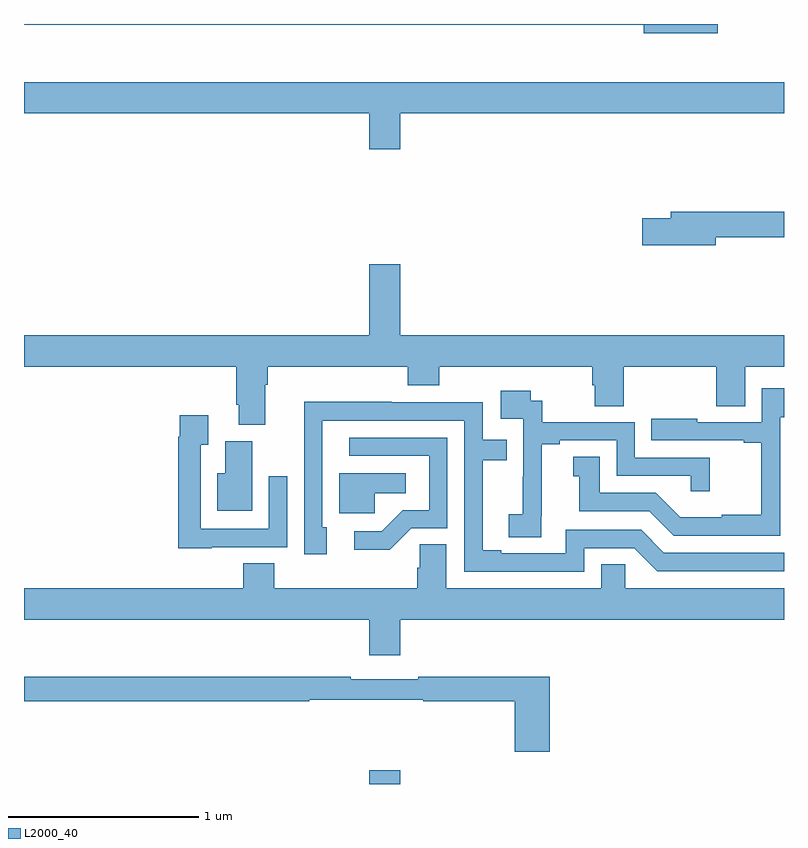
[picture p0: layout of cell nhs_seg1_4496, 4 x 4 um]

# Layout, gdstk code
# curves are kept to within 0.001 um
import gdstk
lib = gdstk.Library(unit=1e-6, precision=1e-09)
def R(c, l, rs):  # rectangles x0, y0, x1, y1
    for r in rs: c.add(gdstk.rectangle(r[:2], r[2:], *l))
def P(c, l, *ps):  # polygons
    for p in ps: c.add(gdstk.Polygon(p, *l))
L2000_40 = (2000, 40)

nhs_seg1_4496 = lib.new_cell('nhs_seg1_4496')
R(nhs_seg1_4496, L2000_40, [(356.816,552.199,356.98,552.271)])
P(nhs_seg1_4496, L2000_40, [(358.651,556.199),(355,556.199),(355,556.194),(358.262,556.194),(358.262,556.151),(358.651,556.151)],
  [(356.98,555.728),(359,555.728),(359,555.892),(355,555.892),(355,555.728),(356.816,555.728),(356.816,555.54),(356.98,555.54)],
  [(358.642,555.076),(359,555.076),(359,555.212),(358.403,555.212),(358.403,555.176),(358.254,555.176),(358.254,555.034),(358.642,555.034)],
  [(356.269,554.3),(356.282,554.3),(356.282,554.396),(357.02,554.396),(357.02,554.297),(357.185,554.297),(357.185,554.396),(357.992,554.396),(357.992,554.298),(358.004,554.298),(358.004,554.188),(358.157,554.188),(358.157,554.396),(358.643,554.396),(358.643,554.188),(358.795,554.188),(358.795,554.396),(359,554.396),(359,554.56),(356.98,554.56),(356.98,554.935),(356.816,554.935),(356.816,554.56),(355,554.56),(355,554.396),(356.117,554.396),(356.117,554.194),(356.129,554.194),(356.129,554.089),(356.269,554.089)],
  [(358.98,554.129),(359,554.129),(359,554.281),(358.884,554.281),(358.884,554.103),(358.543,554.103),(358.543,554.122),(358.3,554.122),(358.3,554.007),(358.787,554.007),(358.787,553.995),(358.879,553.995),(358.879,553.615),(358.673,553.615),(358.673,553.603),(358.454,553.603),(358.326,553.731),(358.03,553.731),(358.03,553.922),(357.89,553.922),(357.89,553.819),(357.923,553.819),(357.923,553.635),(358.29,553.635),(358.419,553.506),(358.98,553.506)],
  [(357.722,553.609),(357.724,553.609),(357.724,553.987),(357.82,553.987),(357.82,554.007),(358.119,554.007),(358.119,553.821),(358.509,553.821),(358.509,553.74),(358.61,553.74),(358.61,553.917),(358.215,553.917),(358.215,554.103),(357.728,554.103),(357.728,554.217),(357.666,554.217),(357.666,554.269),(357.51,554.269),(357.51,554.121),(357.627,554.121),(357.627,553.817),(357.626,553.817),(357.626,553.62),(357.552,553.62),(357.552,553.498),(357.722,553.498)],
  [(357.948,553.44),(358.212,553.44),(358.332,553.32),(359,553.32),(359,553.416),(358.368,553.416),(358.248,553.536),(357.852,553.536),(357.852,553.413),(357.511,553.413),(357.511,553.428),(357.415,553.428),(357.415,553.902),(357.542,553.902),(357.542,554.01),(357.414,554.01),(357.414,554.208),(356.936,554.208),(356.936,554.21),(356.474,554.21),(356.475,553.407),(356.593,553.407),(356.593,553.551),(356.571,553.551),(356.571,554.112),(357.318,554.112),(357.318,553.317),(357.948,553.317)],
  [(355.989,553.446),(356.385,553.446),(356.385,553.819),(356.289,553.819),(356.289,553.542),(355.929,553.542),(355.929,553.984),(355.969,553.984),(355.969,554.14),(355.821,554.14),(355.821,554.027),(355.813,554.027),(355.813,553.439),(355.989,553.439)],
  [(357.039,553.545),(357.228,553.545),(357.228,554.022),(356.712,554.022),(356.712,553.926),(357.132,553.926),(357.132,553.641),(356.994,553.641),(356.883,553.53),(356.739,553.53),(356.739,553.433),(356.926,553.433)],
  [(356.2,554.004),(356.06,554.004),(356.06,553.834),(356.018,553.834),(356.018,553.637),(356.2,553.637)],
  [(356.847,553.73),(357.01,553.73),(357.01,553.834),(356.66,553.834),(356.66,553.623),(356.847,553.623)],
  [(356.98,553.064),(359,553.064),(359,553.228),(358.164,553.228),(358.164,553.355),(358.037,553.355),(358.037,553.228),(357.223,553.228),(357.223,553.46),(357.084,553.46),(357.084,553.337),(357.071,553.337),(357.071,553.228),(356.318,553.228),(356.318,553.361),(356.153,553.361),(356.153,553.228),(355,553.228),(355,553.064),(356.816,553.064),(356.816,552.876),(356.98,552.876)],
  [(357.767,552.763),(357.076,552.763),(357.076,552.75),(356.72,552.75),(356.72,552.763),(355,552.763),(355,552.634),(356.5,552.634),(356.5,552.642),(357.1,552.642),(357.1,552.634),(357.584,552.634),(357.584,552.369),(357.767,552.369)])

lib.write_gds('nhs_seg1_4496.gds')
